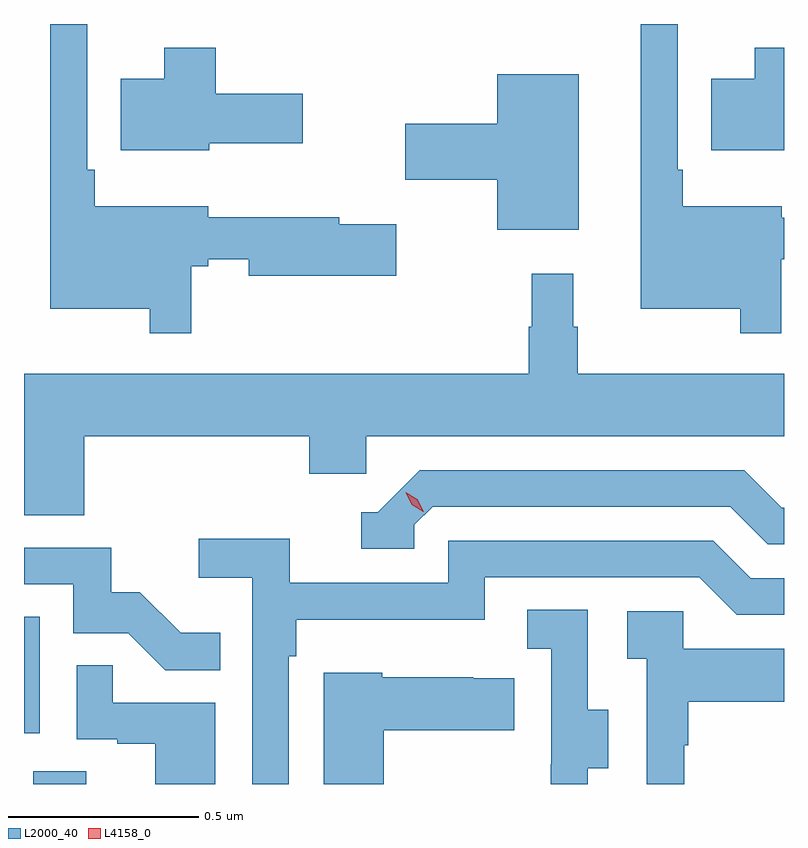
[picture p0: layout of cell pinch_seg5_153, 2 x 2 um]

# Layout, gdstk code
import gdstk
lib = gdstk.Library(unit=1e-6, precision=1e-09)
def R(c, l, rs):  # rectangles x0, y0, x1, y1
    for r in rs: c.add(gdstk.rectangle(r[:2], r[2:], *l))
def P(c, l, *ps):  # polygons
    for p in ps: c.add(gdstk.Polygon(p, *l))
L2000_40 = (2000, 40)
L4158_0 = (4158, 0)

pinch_seg5_153 = lib.new_cell('pinch_seg5_153')
R(pinch_seg5_153, L2000_40, [(1097.645,875.825,1097.785,875.858), (1097.621,875.958,1097.662,876.265)])
P(pinch_seg5_153, L2000_40, [(1099.614,877.206),(1099.621,877.206),(1099.621,877.315),(1099.615,877.315),(1099.615,877.345),(1099.354,877.345),(1099.354,877.441),(1099.341,877.441),(1099.341,877.825),(1099.244,877.825),(1099.244,877.076),(1099.506,877.076),(1099.506,877.011),(1099.614,877.011)],
  [(1098.061,877.187),(1098.106,877.187),(1098.106,877.206),(1098.212,877.206),(1098.212,877.163),(1098.601,877.163),(1098.601,877.298),(1098.451,877.298),(1098.451,877.316),(1098.106,877.316),(1098.106,877.345),(1097.807,877.345),(1097.807,877.441),(1097.787,877.441),(1097.787,877.825),(1097.69,877.825),(1097.69,877.076),(1097.952,877.076),(1097.952,877.011),(1098.061,877.011)],
  [(1099.621,877.762),(1099.544,877.762),(1099.544,877.681),(1099.43,877.681),(1099.43,877.493),(1099.621,877.493)],
  [(1098.108,877.511),(1098.355,877.511),(1098.355,877.641),(1098.125,877.641),(1098.125,877.762),(1097.99,877.762),(1097.99,877.681),(1097.876,877.681),(1097.876,877.493),(1098.108,877.493)],
  [(1099.081,877.693),(1098.866,877.693),(1098.866,877.562),(1098.624,877.562),(1098.624,877.415),(1098.866,877.415),(1098.866,877.283),(1099.081,877.283)],
  [(1098.957,877.168),(1098.957,877.028),(1098.949,877.028),(1098.949,876.904),(1097.621,876.904),(1097.621,876.532),(1097.78,876.532),(1097.78,876.74),(1098.371,876.74),(1098.371,876.642),(1098.522,876.642),(1098.522,876.74),(1099.621,876.74),(1099.621,876.904),(1099.078,876.904),(1099.078,877.028),(1099.066,877.028),(1099.066,877.168)],
  [(1098.648,876.507),(1098.696,876.555),(1099.479,876.555),(1099.578,876.456),(1099.621,876.456),(1099.621,876.552),(1099.615,876.552),(1099.516,876.651),(1098.663,876.651),(1098.552,876.54),(1098.509,876.54),(1098.509,876.444),(1098.648,876.444)],
  [(1098.318,876.161),(1098.338,876.161),(1098.338,876.257),(1098.834,876.257),(1098.834,876.369),(1099.398,876.369),(1099.497,876.27),(1099.621,876.27),(1099.621,876.366),(1099.534,876.366),(1099.435,876.465),(1098.738,876.465),(1098.738,876.354),(1098.32,876.354),(1098.32,876.47),(1098.081,876.47),(1098.081,876.368),(1098.222,876.368),(1098.222,875.825),(1098.318,875.825)],
  [(1098.137,876.223),(1098.033,876.223),(1097.926,876.33),(1097.85,876.33),(1097.85,876.447),(1097.621,876.447),(1097.621,876.351),(1097.751,876.351),(1097.751,876.222),(1097.895,876.222),(1097.993,876.124),(1098.137,876.124)],
  [(1099.105,875.866),(1099.159,875.866),(1099.159,876.021),(1099.104,876.021),(1099.104,876.284),(1098.945,876.284),(1098.945,876.181),(1099.008,876.181),(1099.008,875.877),(1099.007,875.877),(1099.007,875.825),(1099.105,875.825)],
  [(1099.359,875.927),(1099.369,875.927),(1099.369,876.041),(1099.621,876.041),(1099.621,876.181),(1099.356,876.181),(1099.356,876.279),(1099.209,876.279),(1099.209,876.155),(1099.26,876.155),(1099.26,875.825),(1099.359,875.825)],
  [(1098.124,876.039),(1097.855,876.039),(1097.855,876.137),(1097.76,876.137),(1097.76,875.943),(1097.867,875.943),(1097.867,875.931),(1097.966,875.931),(1097.966,875.825),(1098.124,875.825)],
  [(1098.568,875.966),(1098.911,875.966),(1098.911,876.103),(1098.803,876.103),(1098.803,876.106),(1098.564,876.106),(1098.564,876.118),(1098.41,876.118),(1098.41,875.825),(1098.568,875.825)])
P(pinch_seg5_153, L4158_0, [(1098.672,876.541),(1098.641,876.56),(1098.625,876.593),(1098.625,876.593),(1098.625,876.593),(1098.656,876.574),(1098.673,876.541),(1098.673,876.541)])

lib.write_gds('pinch_seg5_153.gds')
